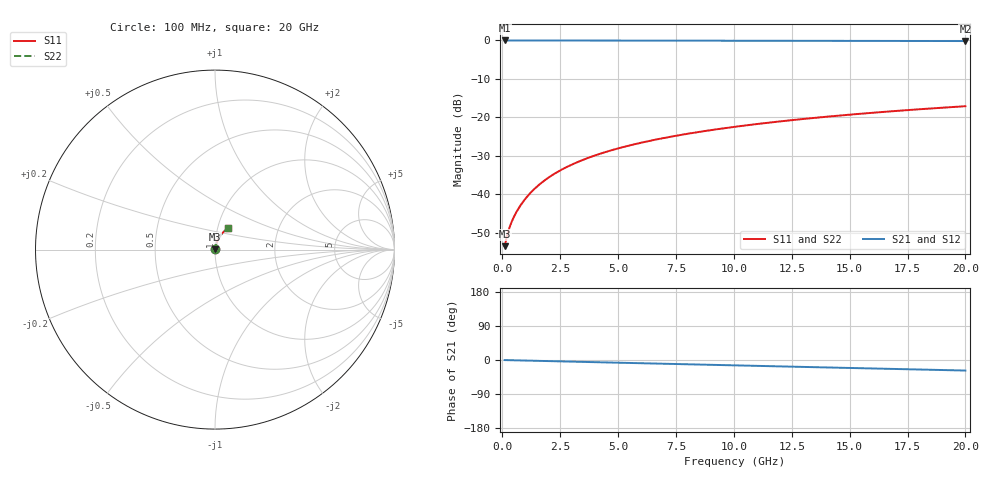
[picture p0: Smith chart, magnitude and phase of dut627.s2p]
! Touchstone file exported from HFSS 2026.1.0
!  File:  C:/ffzhzh/LocalFiles/Ansys_Project_Files/temp_train_BSMRDL_627_1783016522_46388.aedt
!  Generated:  02:23:21 AM Jul  3, 2026
!  Design:  BSMRDL
!  Project:  temp_train_BSMRDL_627_1783016522_46388
! Variables:
!  h_bsmrdl = 3.97um
!  h_ox = 20um
!  h_rdl = 5um
!  h_sub = 80um
!  h_tmrdl = 5um
!  h_tsv = 80um
!  h_via = 3um
!  l_bsmrdl = 456.63um
!  l_sub = 856.63um
!  l_tmrdl = 200um
!  m_sub = 200um
!  pitch = 37.15um
!  r_tsv = 6um
!  s_tmrdl = 10um
!  w_bsmrdl = 26.2um
!  w_sub = 500um
!  w_tmrdl = 12um
!  x_tsv_center1 = 206um
!  x_tsv_center2 = 688.83um
!  x_tsv_center3 = 900.83um
!  x_tsv_center4 = 1383.66um
!  x_tsv_center5 = 1595.66um
!  x_tsv_center6 = 2078.49um
# GHz S MA R 50.000000
! Terminal data exported
! Port[1] = BSM_RDL1_1_T1
! Port[2] = BSM_RDL1_1_T2
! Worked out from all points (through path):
!   200 points, 100 MHz to 20 GHz, reference 50 ohm
!   highest |S21| = -0.02 dB at 100 MHz (marker M1); lowest = -0.2 dB at 20 GHz (marker M2)
!   group delay of S21, straight-line fit = 3.85 ps
!   lowest |S11| = -53.5 dB at 100 MHz (marker M3), VSWR 1.00, Z = 50.2 + j0.107 ohm
!   |S11| at or under -10 dB: start of sweep to end of sweep
!   |S22| runs from -53.5 to -17.1 dB; largest |S21 - S12| = 4.5e-15
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0.1  0.002104 30.4  0.9982 -0.2  0.9982 -0.2  0.002104 30.4
! Gamma 0 0 0 0
! Port Impedance 50 0 50 0
0.2  0.002842 45.2  0.998 -0.3  0.998 -0.3  0.002842 45.2
0.3  0.003602 52.5  0.9978 -0.5  0.9978 -0.5  0.003602 52.5
0.4  0.004333 57.3  0.9977 -0.6  0.9977 -0.6  0.004332 57.3
0.5  0.005051 60.8  0.9976 -0.7  0.9976 -0.7  0.00505 60.8
0.6  0.00577 63.7  0.9975 -0.9  0.9975 -0.9  0.00577 63.7
0.8  0.007232 67.9  0.9974 -1.2  0.9974 -1.2  0.007231 67.9
1  0.008727 70.8  0.9973 -1.5  0.9973 -1.5  0.008726 70.8
1.2  0.01025 72.9  0.9973 -1.7  0.9973 -1.7  0.01025 72.9
1.4  0.01178 74.3  0.9972 -2.0  0.9972 -2.0  0.01178 74.3
1.7  0.01411 75.7  0.9971 -2.5  0.9971 -2.5  0.01411 75.7
2.2  0.018 77.0  0.9968 -3.2  0.9968 -3.2  0.018 77.0
2.8  0.02266 77.5  0.9964 -4.0  0.9964 -4.0  0.02266 77.5
3.5  0.02804 77.4  0.9959 -5.0  0.9959 -5.0  0.02804 77.4
4.2  0.03336 77.0  0.9954 -6.0  0.9954 -6.0  0.03336 77.0
5  0.03934 76.3  0.9947 -7.2  0.9947 -7.2  0.03934 76.3
6.8  0.05245 74.3  0.9932 -9.7  0.9932 -9.7  0.05246 74.3
8.3  0.06308 72.6  0.9918 -11.8  0.9918 -11.8  0.06308 72.6
10.1  0.07554 70.5  0.9902 -14.3  0.9902 -14.3  0.07554 70.5
13.4  0.09768 66.4  0.9871 -18.8  0.9871 -18.8  0.09768 66.5
16.7  0.1189 62.4  0.9839 -23.3  0.9839 -23.3  0.1189 62.4
20  0.1392 58.2  0.9804 -27.8  0.9804 -27.8  0.1392 58.2
